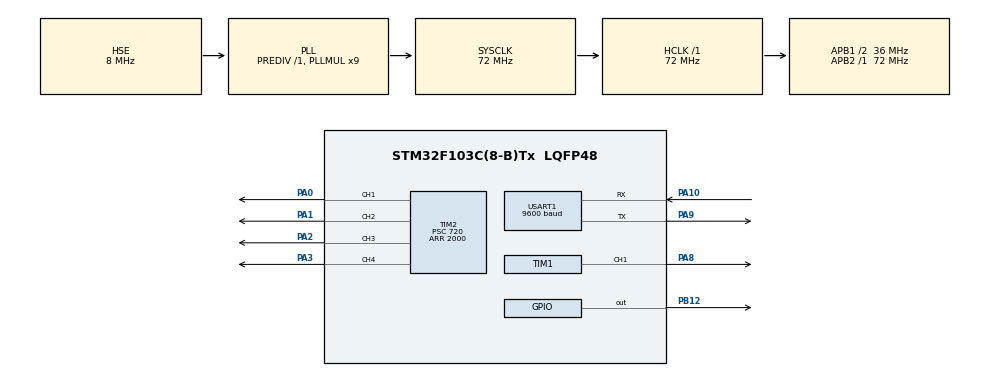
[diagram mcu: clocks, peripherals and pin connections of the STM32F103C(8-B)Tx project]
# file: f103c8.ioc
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Dma.Request0=TIM1_CH1
Dma.TIM1_CH1.0.Direction=DMA_MEMORY_TO_PERIPH
Dma.TIM1_CH1.0.Instance=DMA1_Channel2
Dma.TIM1_CH1.0.MemDataAlignment=DMA_MDATAALIGN_WORD
Dma.TIM1_CH1.0.MemInc=DMA_MINC_ENABLE
Dma.TIM1_CH1.0.Mode=DMA_CIRCULAR
Dma.TIM1_CH1.0.PeriphDataAlignment=DMA_PDATAALIGN_WORD
Dma.TIM1_CH1.0.PeriphInc=DMA_PINC_DISABLE
Dma.TIM1_CH1.0.Priority=DMA_PRIORITY_LOW
Mcu.Family=STM32F1
Mcu.Name=STM32F103C(8-B)Tx
Mcu.Package=LQFP48
NVIC.DMA1_Channel2_IRQn=true\:0\:0\:false\:false\:true\:false\:true
NVIC.PriorityGroup=NVIC_PRIORITYGROUP_4
NVIC.USART1_IRQn=true\:0\:0\:false\:false\:true\:true\:true
PA0-WKUP.Signal=S_TIM2_CH1_ETR
PA1.Signal=S_TIM2_CH2
PA10.Mode=Asynchronous
PA10.Signal=USART1_RX
PA13.Mode=Serial_Wire
PA13.Signal=SYS_JTMS-SWDIO
PA14.Mode=Serial_Wire
PA14.Signal=SYS_JTCK-SWCLK
PA2.Signal=S_TIM2_CH3
PA3.Signal=S_TIM2_CH4
PA8.Signal=S_TIM1_CH1
PA9.Mode=Asynchronous
PA9.Signal=USART1_TX
PB12.Signal=GPIO_Output
PD0-OSC_IN.Mode=HSE-External-Oscillator
PD0-OSC_IN.Signal=RCC_OSC_IN
PD1-OSC_OUT.Mode=HSE-External-Oscillator
PD1-OSC_OUT.Signal=RCC_OSC_OUT
ProjectManager.HeapSize=0x200
ProjectManager.StackSize=0x400
ProjectManager.TargetToolchain=STM32CubeIDE
RCC.AHBFreq_Value=72000000
RCC.APB1CLKDivider=RCC_HCLK_DIV2
RCC.APB1Freq_Value=36000000
RCC.APB1TimFreq_Value=72000000
RCC.APB2Freq_Value=72000000
RCC.APB2TimFreq_Value=72000000
RCC.HCLKFreq_Value=72000000
RCC.PLLMUL=RCC_PLL_MUL9
RCC.PLLSourceVirtual=RCC_PLLSOURCE_HSE
RCC.SYSCLKFreq_VALUE=72000000
RCC.SYSCLKSource=RCC_SYSCLKSOURCE_PLLCLK
RCC.USBFreq_Value=72000000
SH.S_TIM1_CH1.0=TIM1_CH1,PWM Generation1 CH1
SH.S_TIM2_CH1_ETR.0=TIM2_CH1,PWM Generation1 CH1
SH.S_TIM2_CH2.0=TIM2_CH2,PWM Generation2 CH2
SH.S_TIM2_CH3.0=TIM2_CH3,PWM Generation3 CH3
SH.S_TIM2_CH4.0=TIM2_CH4,PWM Generation4 CH4
TIM1.Channel-PWM\ Generation1\ CH1=TIM_CHANNEL_1
TIM1.Period=93
TIM2.Channel-PWM\ Generation1\ CH1=TIM_CHANNEL_1
TIM2.Channel-PWM\ Generation2\ CH2=TIM_CHANNEL_2
TIM2.Channel-PWM\ Generation3\ CH3=TIM_CHANNEL_3
TIM2.Channel-PWM\ Generation4\ CH4=TIM_CHANNEL_4
TIM2.Period=2000
TIM2.Prescaler=720
USART1.BaudRate=9600
USART1.VirtualMode=VM_ASYNC
board=custom

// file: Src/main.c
/* USER CODE BEGIN Header */
/**
  ******************************************************************************
  * @file           : main.c
  * @brief          : Main program body
  ******************************************************************************
  * @attention
  *
  * <h2><center>&copy; Copyright (c) 2019 STMicroelectronics.
  * All rights reserved.</center></h2>
  *
  * This software component is licensed by ST under BSD 3-Clause license,
  * the "License"; You may not use this file except in compliance with the
  * License. You may obtain a copy of the License at:
  *                        opensource.org/licenses/BSD-3-Clause
  *
  ******************************************************************************
  */
/* USER CODE END Header */

#include "main.h"

/* USER CODE BEGIN Includes */
#include "ws2812.h"

/* USER CODE END Includes */

/* USER CODE BEGIN PD */
#define SHOOTER 			0
#define SHOULDER 			1
#define CHEST 				2
#define TEST_CASE1 			3 //blinking
#define TEST_CASE2 			4 //smoothing
#define TEST_CASE3 			5 //circle
#define TEST_CASE4 			6 //turn on
#define TEST_SHOOTER 		7
#define TEST_BLUETOOTH 		8
#define TEST_SERVO			9
#define TEST_SHOLDER 		10

#define DEVICE TEST_SHOLDER
#define BLINK 0
#define SMOOTH 1
#define CIRCLE 2
#define BLUE_SMOOTH 3
#define SHOOTER_SERVO_MAX 1500
#define SHOOTER_SERVO_MIN 1100

#define SHOULDER_SERVO_MAX 1900
#define SHOULDER_SERVO_MIN 1100

#define HEAD_SERVO_MAX 1900
#define HEAD_SERVO_MIN 1100
/* USER CODE END PD */

TIM_HandleTypeDef htim1;
TIM_HandleTypeDef htim2;
DMA_HandleTypeDef hdma_tim1_ch1;
DMA_HandleTypeDef hdma_tim1_ch2;

UART_HandleTypeDef huart1;

void SystemClock_Config(void);
static void MX_GPIO_Init(void);
static void MX_DMA_Init(void);
static void MX_TIM1_Init(void);
static void MX_TIM2_Init(void);
static void MX_USART1_UART_Init(void);
/* USER CODE BEGIN PFP */
void run_led_sequence(uint32_t count, uint8_t type);
void run_led_sequence2(uint32_t count, uint8_t type);
/* USER CODE END PFP */

/* USER CODE BEGIN 0 */

uint8_t rcvData[10] = {0,};
uint8_t sendData[10] = {0,};

uint32_t step = 0;
uint8_t taskFlag1 = 0;
uint8_t taskFlag2 = 0;
uint32_t taskCount1 = 0;
uint32_t taskCount2 = 0;
uint8_t values = 0;
/* USER CODE END 0 */

int main(void)
{

  /* MCU Configuration--------------------------------------------------------*/

  /* Reset of all peripherals, Initializes the Flash interface and the Systick. */
  HAL_Init();

  /* Configure the system clock */
  SystemClock_Config();

  /* Initialize all configured peripherals */
  MX_GPIO_Init();
  MX_DMA_Init();
  MX_TIM1_Init();
  MX_TIM2_Init();
  MX_USART1_UART_Init();
  /* USER CODE BEGIN 2 */

  uint32_t nowTick = 0;
  uint32_t pastTick = 0;
  ws2812Begin(8);

  HAL_UART_Receive_IT(&huart1, rcvData, 1);

//  HAL_TIMEx_PWMN_Start(&htim2, TIM_CHANNEL_1);
//  HAL_TIMEx_PWMN_Start(&htim2, TIM_CHANNEL_2);
  HAL_TIM_PWM_Start(&htim2, TIM_CHANNEL_1);
  HAL_TIM_PWM_Start(&htim2, TIM_CHANNEL_2);
  HAL_TIM_PWM_Start(&htim2, TIM_CHANNEL_3);
  HAL_TIM_PWM_Start(&htim2, TIM_CHANNEL_4);

#if(DEVICE == SHOOTER || DEVICE == TEST_SHOOTER)
  htim2.Instance->CCR1 = 113;
  htim2.Instance->CCR2 = 110;
  htim2.Instance->CCR3 = 110;
  htim2.Instance->CCR4 = 110;
#endif

#if(DEVICE == SHOULDER)	//have to init sequence
  htim2.Instance->CCR1 = 110;
  htim2.Instance->CCR4 = 110;
  HAL_Delay(5000);
  htim2.Instance->CCR2 = 110;
  htim2.Instance->CCR3 = 110;
  HAL_Delay(5000);
#endif
  /* USER CODE END 2 */

  /* Infinite loop */
  while (1)
  {

    /* USER CODE BEGIN 3 */
	  nowTick = HAL_GetTick();
	  HAL_UART_Receive_IT(&huart1, rcvData, 1);
#if(DEVICE == SHOOTER)
	  if(taskFlag1 == 0x02)
	  {
		  if(nowTick - pastTick > 50)
		  {
			  HAL_GPIO_TogglePin(GPIOB, GPIO_PIN_12);
			  step++;
			  if(step < 5)	//10sec
			  {
				  taskCount1 = 0;
				  htim2.Instance->CCR1 = 113;
			  }
			  else if(step < 250)	//25sec - 12.5sec
			  {
				  taskCount1 = 0;
				  htim2.Instance->CCR1 = 166;
			  }
			  else if(step < 400)	//32.5sec - 12.5sec
			  {
				  taskCount1++;
				  htim2.Instance->CCR1 = 166;
				  run_led_sequence(taskCount1 , BLINK);
			  }
			  else if(step < 550)	//40sec - 12.5sec
			  {
				  taskCount1 = 0;
				  htim2.Instance->CCR1 = 113;

				  for(uint32_t i  = 0; i < 28 ; i++)
				  {
					  ws2812SetColor(i, 0, 0, 0);
				  }
			  }
			  else if(step < 600)	//42.5sec - 12.5sec
			  {
				  taskCount1 = 0;
				  step = 0;
				  taskFlag1 = 0;
			  }
			  pastTick = nowTick;
		  }
	  }
	  else
	  {
		  if(nowTick - pastTick > 50)
		  {

			  for(uint32_t i  = 0; i < 28 ; i++)
			  {
				  ws2812SetColor(i, 0, 0, 0);
			  }
			  pastTick = nowTick;
		  }
	  }
#elif(DEVICE == SHOULDER)
	  if(nowTick - pastTick > 50)
	  {
		  if(taskFlag1 || taskFlag2)
		  {
			  HAL_GPIO_TogglePin(GPIOB, GPIO_PIN_12);
			  if(taskFlag1)				//head
			  {
				  taskCount1++;
				  if(taskCount1 < 300)
				  {
					  // open linear servo head
					  htim2.Instance->CCR1 = 190;
				  }
				  else if(taskCount1 < 600)
				  {
					  // close linear servo head
					  htim2.Instance->CCR1 = 110;
				  }
				  else if(taskCount1 < 700)
				  {
					  // init head
					  htim2.Instance->CCR1 = 110;
					  taskCount1 = 0;
					  taskFlag1 = 0;
				  }
			  }
			  else
			  {
				  // init head
				  htim2.Instance->CCR1 = 110;
				  taskCount1 = 0;
				  taskFlag1 = 0;
			  }

			  if(taskFlag2)				//shoulder
			  {
				  taskCount2++;

				  if(taskCount2 < 150)				//50 * 150 ms
				  {
					  //open angular servo shoulder
					  ws2812ClearColor();
					  htim2.Instance->CCR2 = 110;	//1100us
					  htim2.Instance->CCR3 = 110;	//1100us
					  htim2.Instance->CCR4 = 110;
				  }
				  else if(taskCount2 < 600)			//50 * 600 ms
				  {
					  //open linear servo shooter
					  htim2.Instance->CCR2 = 130;
					  htim2.Instance->CCR3 = 130;
					  htim2.Instance->CCR4 = 160;
					  ws2812ClearColor();
				  }
				  else if(taskCount2 < 800)
				  {
					  //shooting
					  htim2.Instance->CCR2 = 140;
					  htim2.Instance->CCR3 = 140;
					  htim2.Instance->CCR4 = 110;
					  run_led_sequence(taskCount2, BLINK);
				  }
				  else if(taskCount2 < 1000)
				  {
					  //close linear servo shooter
					  htim2.Instance->CCR2 = 150;
					  htim2.Instance->CCR3 = 150;
					  htim2.Instance->CCR4 = 160;
					  ws2812ClearColor();
				  }
				  else if(taskCount2 < 1200)
				  {
					  //close angular servo shoulder
					  htim2.Instance->CCR2 = 110;
					  htim2.Instance->CCR3 = 110;
					  htim2.Instance->CCR4 = 180;
					  ws2812ClearColor();
					  //init head
					  taskCount2 = 0;
					  taskFlag2 = 0;
				  }
			  }
			  else
			  {
				  //close angular servo shoulder
				  htim2.Instance->CCR2 = 110;
				  htim2.Instance->CCR3 = 110;
				  ws2812ClearColor();
				  //init head
				  taskCount2 = 0;
				  taskFlag2 = 0;
			  }
		  }
		  else
		  {
			  // head init
			  // TODO do they move sequence?
			  // SHOULDER init
			  // TODO do they move sequence?
		  }
		  pastTick = nowTick;
	  }
#elif(DEVICE == CHEST)
	  {
		  if(nowTick - pastTick > 20)
		  {
			  taskCount2++;
			  if(step == 0)
			  {
				  taskCount1++;
				  //run_led_sequence(taskCount1, SMOOTH);
				  run_led_sequence(taskCount1, BLUE_SMOOTH);
				  if(taskCount1 == 100)
					  step = 1;
			  }
			  else if(step == 1)
			  {
				  taskCount1--;
				  //run_led_sequence(taskCount1, SMOOTH);
				  run_led_sequence(taskCount1, BLUE_SMOOTH);
				  if(taskCount1 == 0)
					  step = 2;
			  }
			  else if(step == 2)
			  {
				  step = 0;
				  taskCount1 = 0;
				  //run_led_sequence(taskCount1, SMOOTH);
				  run_led_sequence(taskCount1, BLUE_SMOOTH);
			  }

			  pastTick = nowTick;
		  }
	  }
#elif(DEVICE == TEST_CASE1)

	  if(nowTick - pastTick > 50)
	  {
		  taskCount1++;
		  run_led_sequence(taskCount1 , BLINK);
		  pastTick = nowTick;
	  }

#elif(DEVICE == TEST_CASE2)
	  if(nowTick - pastTick > 50)
	  {
		  taskCount1++;
		  values ++;
		  for(uint32_t i = 0 ; i < 28; i++)
		  {
			  ws2812SetColor(i, values, values, values);
		  }
		  if(values > 100)
			  values = 0;

		  pastTick = nowTick;
	  }
#elif(DEVICE == TEST_CASE3)
	  if(nowTick - pastTick > 10)
	  {
		  taskCount1++;
		  run_led_sequence(taskCount1, CIRCLE);
		  if(taskCount1 == 23)
		  {
			  taskCount1 = 0;
		  }
		  pastTick = nowTick;
	  }
#elif(DEVICE == TEST_CASE4)
	  if(nowTick - pastTick > 50)
	  {
		  for(uint32_t i  = 0; i < 28 ; i++)
		  {
			  ws2812SetColor(i, 120, 120, 120);
		  }
	  }
#elif(DEVICE == TEST_SHOOTER)
	  if(nowTick - pastTick > 50)
	  {
		  HAL_GPIO_TogglePin(GPIOB, GPIO_PIN_12);
		  step++;
		  if(step < 200)
		  {
			  taskCount1=0;
			  htim2.Instance->CCR1 = 113;
		  }
		  else if(step < 500)
		  {
			  taskCount1=0;
			  htim2.Instance->CCR1 = 166;
		  }
		  else if(step < 650)
		  {
			  taskCount1++;
			  htim2.Instance->CCR1 = 166;
			  run_led_sequence(taskCount1 , BLINK);
		  }
		  else if(step > 700)
		  {
			  taskCount1=0;
			  step = 0;
			  htim2.Instance->CCR1 = 113;

			  for(uint32_t i  = 0; i < 28 ; i++)
			  {
				  ws2812SetColor(i, 0, 0, 0);
			  }
		  }
		  pastTick = nowTick;
	  }
#elif(DEVICE == TEST_SHOLDER)
	  if(nowTick - pastTick > 50)
	  {
		  HAL_GPIO_TogglePin(GPIOB, GPIO_PIN_12);

		  step++;

		  if(step < 100)
		  {
			  htim2.Instance->CCR4 = 110;
		  }
		  else if(step < 200)
		  {
			  htim2.Instance->CCR4 = 165;
		  }
		  else if(step < 300)
		  {
			  htim2.Instance->CCR4 = 110;
		  }
		  else if(step < 400)
		  {
			  step = 0;
		  }

		  pastTick = nowTick;
	  }

#elif(DEVICE == TEST_SERVO)
	  if(nowTick - pastTick > 50)
	  {
		  HAL_GPIO_TogglePin(GPIOB, GPIO_PIN_12);

		  step++;

		  if(step < 200)
		  {
			  htim2.Instance->CCR1 = 110;
		  }
		  else if(step < 400)
		  {
			  htim2.Instance->CCR1 = 190;
		  }
		  else if(step < 500)
		  {
			  step = 0;
		  }

		  pastTick = nowTick;
	  }
#else
	  if(nowTick - pastTick > 50)
	  {
		  if(step == 1)
		  //for(uint32_t i = 0; i < 17; i ++)
		  {
			    sendData[0] = 0xFF;
			    HAL_UART_Transmit(&huart1, sendData, 1, 0xFFFF);
				//ws2812SetColor(i, 255, 255, 255);
		  }
		  if(step == 2)
		  //for(uint32_t i = 0; i < 17; i ++)
		  {
			    sendData[0] = 0x00;
			    HAL_UART_Transmit(&huart1, sendData, 1, 0xFFFF);
				//ws2812SetColor(i, 0, 0, 0);
		  }
		  if(step == 3)
		  {
			    sendData[0] = 0x01;
			    HAL_UART_Transmit(&huart1, sendData, 1, 0xFFFF);
				//ws2812SetColor(i, 255, 255, 255);
		  }
		  if(step == 3)
		  {
			    sendData[0] = 0x02;
			    HAL_UART_Transmit(&huart1, sendData, 1, 0xFFFF);
				//ws2812SetColor(i, 255, 255, 255);
		  }
		  if(step == 4)
		  {
			    sendData[0] = 0x80;
			    HAL_UART_Transmit(&huart1, sendData, 1, 0xFFFF);
		  }
		  if(step == 5)
		  {
			    sendData[0] = 0x82;
			    HAL_UART_Transmit(&huart1, sendData, 1, 0xFFFF);
		  }

			step++;
			if(step == 6)
				step = 1;
		  pastTick = nowTick;
	  }

#endif
  }
  /* USER CODE END 3 */
}

void SystemClock_Config(void)
{
  RCC_OscInitTypeDef RCC_OscInitStruct = {0};
  RCC_ClkInitTypeDef RCC_ClkInitStruct = {0};

  /** Initializes the CPU, AHB and APB busses clocks
  */
  RCC_OscInitStruct.OscillatorType = RCC_OSCILLATORTYPE_HSE;
  RCC_OscInitStruct.HSEState = RCC_HSE_ON;
  RCC_OscInitStruct.HSEPredivValue = RCC_HSE_PREDIV_DIV1;
  RCC_OscInitStruct.HSIState = RCC_HSI_ON;
  RCC_OscInitStruct.PLL.PLLState = RCC_PLL_ON;
  RCC_OscInitStruct.PLL.PLLSource = RCC_PLLSOURCE_HSE;
  RCC_OscInitStruct.PLL.PLLMUL = RCC_PLL_MUL9;
  if (HAL_RCC_OscConfig(&RCC_OscInitStruct) != HAL_OK)
  {
    Error_Handler();
  }
  /** Initializes the CPU, AHB and APB busses clocks
  */
  RCC_ClkInitStruct.ClockType = RCC_CLOCKTYPE_HCLK|RCC_CLOCKTYPE_SYSCLK
                              |RCC_CLOCKTYPE_PCLK1|RCC_CLOCKTYPE_PCLK2;
  RCC_ClkInitStruct.SYSCLKSource = RCC_SYSCLKSOURCE_PLLCLK;
  RCC_ClkInitStruct.AHBCLKDivider = RCC_SYSCLK_DIV1;
  RCC_ClkInitStruct.APB1CLKDivider = RCC_HCLK_DIV2;
  RCC_ClkInitStruct.APB2CLKDivider = RCC_HCLK_DIV1;

  if (HAL_RCC_ClockConfig(&RCC_ClkInitStruct, FLASH_LATENCY_2) != HAL_OK)
  {
    Error_Handler();
  }
}

static void MX_TIM1_Init(void)
{

  TIM_MasterConfigTypeDef sMasterConfig = {0};
  TIM_OC_InitTypeDef sConfigOC = {0};
  TIM_BreakDeadTimeConfigTypeDef sBreakDeadTimeConfig = {0};

  htim1.Instance = TIM1;
  htim1.Init.Prescaler = 0;
  htim1.Init.CounterMode = TIM_COUNTERMODE_UP;
  htim1.Init.Period = 93;
  htim1.Init.ClockDivision = TIM_CLOCKDIVISION_DIV1;
  htim1.Init.RepetitionCounter = 0;
  htim1.Init.AutoReloadPreload = TIM_AUTORELOAD_PRELOAD_DISABLE;
  if (HAL_TIM_PWM_Init(&htim1) != HAL_OK)
  {
    Error_Handler();
  }
  sMasterConfig.MasterOutputTrigger = TIM_TRGO_RESET;
  sMasterConfig.MasterSlaveMode = TIM_MASTERSLAVEMODE_DISABLE;
  if (HAL_TIMEx_MasterConfigSynchronization(&htim1, &sMasterConfig) != HAL_OK)
  {
    Error_Handler();
  }
  sConfigOC.OCMode = TIM_OCMODE_PWM1;
  sConfigOC.Pulse = 0;
  sConfigOC.OCPolarity = TIM_OCPOLARITY_HIGH;
  sConfigOC.OCNPolarity = TIM_OCNPOLARITY_HIGH;
  sConfigOC.OCFastMode = TIM_OCFAST_DISABLE;
  sConfigOC.OCIdleState = TIM_OCIDLESTATE_RESET;
  sConfigOC.OCNIdleState = TIM_OCNIDLESTATE_RESET;
  if (HAL_TIM_PWM_ConfigChannel(&htim1, &sConfigOC, TIM_CHANNEL_1) != HAL_OK)
  {
    Error_Handler();
  }
  if (HAL_TIM_PWM_ConfigChannel(&htim1, &sConfigOC, TIM_CHANNEL_2) != HAL_OK)
  {
    Error_Handler();
  }
  sBreakDeadTimeConfig.OffStateRunMode = TIM_OSSR_DISABLE;
  sBreakDeadTimeConfig.OffStateIDLEMode = TIM_OSSI_DISABLE;
  sBreakDeadTimeConfig.LockLevel = TIM_LOCKLEVEL_OFF;
  sBreakDeadTimeConfig.DeadTime = 0;
  sBreakDeadTimeConfig.BreakState = TIM_BREAK_DISABLE;
  sBreakDeadTimeConfig.BreakPolarity = TIM_BREAKPOLARITY_HIGH;
  sBreakDeadTimeConfig.AutomaticOutput = TIM_AUTOMATICOUTPUT_DISABLE;
  if (HAL_TIMEx_ConfigBreakDeadTime(&htim1, &sBreakDeadTimeConfig) != HAL_OK)
  {
    Error_Handler();
  }
  HAL_TIM_MspPostInit(&htim1);

}

static void MX_TIM2_Init(void)
{

  TIM_MasterConfigTypeDef sMasterConfig = {0};
  TIM_OC_InitTypeDef sConfigOC = {0};

  htim2.Instance = TIM2;
  htim2.Init.Prescaler = 720;
  htim2.Init.CounterMode = TIM_COUNTERMODE_UP;
  htim2.Init.Period = 20000;
  htim2.Init.ClockDivision = TIM_CLOCKDIVISION_DIV1;
  htim2.Init.AutoReloadPreload = TIM_AUTORELOAD_PRELOAD_DISABLE;
  if (HAL_TIM_PWM_Init(&htim2) != HAL_OK)
  {
    Error_Handler();
  }
  sMasterConfig.MasterOutputTrigger = TIM_TRGO_RESET;
  sMasterConfig.MasterSlaveMode = TIM_MASTERSLAVEMODE_DISABLE;
  if (HAL_TIMEx_MasterConfigSynchronization(&htim2, &sMasterConfig) != HAL_OK)
  {
    Error_Handler();
  }
  sConfigOC.OCMode = TIM_OCMODE_PWM1;
  sConfigOC.Pulse = 0;
  sConfigOC.OCPolarity = TIM_OCPOLARITY_HIGH;
  sConfigOC.OCFastMode = TIM_OCFAST_DISABLE;
  if (HAL_TIM_PWM_ConfigChannel(&htim2, &sConfigOC, TIM_CHANNEL_1) != HAL_OK)
  {
    Error_Handler();
  }
  if (HAL_TIM_PWM_ConfigChannel(&htim2, &sConfigOC, TIM_CHANNEL_2) != HAL_OK)
  {
    Error_Handler();
  }
  if (HAL_TIM_PWM_ConfigChannel(&htim2, &sConfigOC, TIM_CHANNEL_3) != HAL_OK)
  {
    Error_Handler();
  }
  if (HAL_TIM_PWM_ConfigChannel(&htim2, &sConfigOC, TIM_CHANNEL_4) != HAL_OK)
  {
    Error_Handler();
  }
  HAL_TIM_MspPostInit(&htim2);

}

static void MX_USART1_UART_Init(void)
{

  huart1.Instance = USART1;
  huart1.Init.BaudRate = 9600;
  huart1.Init.WordLength = UART_WORDLENGTH_8B;
  huart1.Init.StopBits = UART_STOPBITS_1;
  huart1.Init.Parity = UART_PARITY_NONE;
  huart1.Init.Mode = UART_MODE_TX_RX;
  huart1.Init.HwFlowCtl = UART_HWCONTROL_NONE;
  huart1.Init.OverSampling = UART_OVERSAMPLING_16;
  if (HAL_UART_Init(&huart1) != HAL_OK)
  {
    Error_Handler();
  }

}

static void MX_DMA_Init(void)
{
  /* DMA controller clock enable */
  __HAL_RCC_DMA1_CLK_ENABLE();

  /* DMA interrupt init */
  /* DMA1_Channel2_IRQn interrupt configuration */
  HAL_NVIC_SetPriority(DMA1_Channel2_IRQn, 0, 0);
  HAL_NVIC_EnableIRQ(DMA1_Channel2_IRQn);
  /* DMA1_Channel3_IRQn interrupt configuration */
  HAL_NVIC_SetPriority(DMA1_Channel3_IRQn, 0, 0);
  HAL_NVIC_EnableIRQ(DMA1_Channel3_IRQn);

}

static void MX_GPIO_Init(void)
{
  GPIO_InitTypeDef GPIO_InitStruct = {0};

  /* GPIO Ports Clock Enable */
  __HAL_RCC_GPIOD_CLK_ENABLE();
  __HAL_RCC_GPIOA_CLK_ENABLE();
  __HAL_RCC_GPIOB_CLK_ENABLE();

  /*Configure GPIO pin Output Level */
  HAL_GPIO_WritePin(GPIOB, GPIO_PIN_12, GPIO_PIN_RESET);

  /*Configure GPIO pin : PB12 */
  GPIO_InitStruct.Pin = GPIO_PIN_12;
  GPIO_InitStruct.Mode = GPIO_MODE_OUTPUT_PP;
  GPIO_InitStruct.Pull = GPIO_NOPULL;
  GPIO_InitStruct.Speed = GPIO_SPEED_FREQ_LOW;
  HAL_GPIO_Init(GPIOB, &GPIO_InitStruct);

}

/* USER CODE BEGIN 4 */

void HAL_UART_RxCpltCallback(UART_HandleTypeDef *huart)
{
	if(huart->Instance == USART1)
	{
#if(DEVICE == SHOOTER)
			{
				if(rcvData[0] == 0b00000010)
				{
					taskFlag1 = 0b00000010;
				}
			}
#elif(DEVICE == SHOULDER)
			{
				if(rcvData[0] & 0b10000000)
				{
					taskFlag2 = 1;
				}
				else if(rcvData[0] & 0b00000010)
				{
					taskFlag1 = 1;
				}
			}
#elif(DEVICE == CHEST)
			{
				if(rcvData[0] != 0)
				{
					taskFlag1 = 1;
				}
			}
#elif(DEVICE == TEST_CASE1)
			{

			}
#elif(DEVICE == TEST_CASE2)
			{

			}
#elif(DEVICE == TEST_CASE3)
			{

			}
#elif(DEVICE == TEST_BLUETOOTH)
			{
				if(rcvData[0] == 0xFF)
				{
					  for(uint32_t i = 0; i < 17; i ++)
					  {
							ws2812SetColor(i, 255, 255, 255);
					  }
				}
				else
				{
					  for(uint32_t i = 0; i < 17; i ++)
					  {
							ws2812SetColor(i, 0, 0, 0);
					  }
				}
			}
#endif

	}
}

void run_led_sequence(uint32_t count, uint8_t type)
{
	if(type == BLINK)
	{
		if(count%2 == 0)
		{
			  for(uint32_t i = 0; i < 40; i ++)
			  {
					ws2812SetColor(i, 0, 0, 0);
			  }
		}
		else
		{
			  for(uint32_t i = 0; i < 40; i ++)
			  {
					ws2812SetColor(i, (uint8_t)255, (uint8_t)255, (uint8_t)255);
			  }
		}
	}

	else if(type == SMOOTH)
	{
		uint8_t value = (uint8_t)count;
		for(uint32_t i = 0; i < 28; i ++)
		{
			ws2812SetColor(i, value, value, value);
		}
	}
	else if(type == BLUE_SMOOTH)
	{
		uint8_t value = (uint8_t)count;
		for(uint32_t i = 0; i < 40; i ++)
		{
			ws2812SetColor(i, (value >> 2), (value >> 2), value);
		}
	}
	else if(type == CIRCLE)
	{
		for(uint32_t i = 0; i < 24; i ++)
		{
			if(i == count)
				ws2812SetColor(i, 255, 255, 255);
			else
				ws2812SetColor(i, 0, 0, 0);
		}
	}

}

void run_led_sequence2(uint32_t count, uint8_t type)
{
	if(type == BLINK)
	{
		if(count%2 == 0)
		{
			  for(uint32_t i = 0; i < 28; i ++)
			  {
					ws2812SetColor2(i, 0, 0, 0);
			  }
		}
		else
		{
			  for(uint32_t i = 0; i < 28; i ++)
			  {
					ws2812SetColor2(i, (uint8_t)255, (uint8_t)255, (uint8_t)255);
			  }
		}
	}

	else if(type == SMOOTH)
	{
		uint8_t value = (uint8_t)count;
		for(uint32_t i = 0; i < 28; i ++)
		{
			ws2812SetColor2(i, value, value, value);
		}
	}
	else if(type == BLUE_SMOOTH)
	{
		uint8_t value = (uint8_t)count;
		for(uint32_t i = 0; i < 28; i ++)
		{
			ws2812SetColor2(i, (value >> 2), (value >> 2), value);
		}
	}
	else if(type == CIRCLE)
	{
		for(uint32_t i = 0; i < 24; i ++)
		{
			if(i == count)
				ws2812SetColor2(i, 255, 255, 255);
			else
				ws2812SetColor2(i, 0, 0, 0);
		}
	}

}
/* USER CODE END 4 */

void Error_Handler(void)
{
}

/************************ (C) COPYRIGHT STMicroelectronics *****END OF FILE****/
